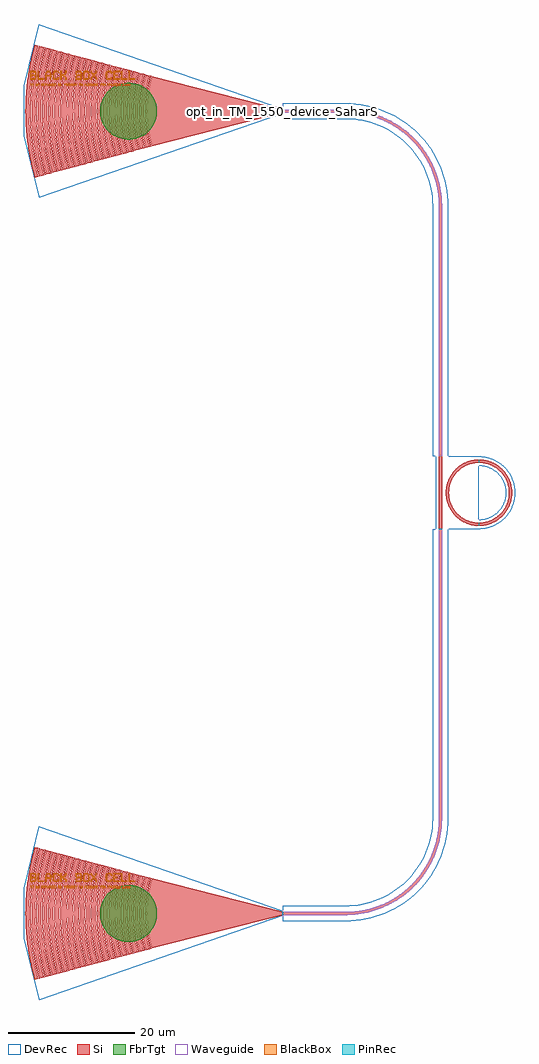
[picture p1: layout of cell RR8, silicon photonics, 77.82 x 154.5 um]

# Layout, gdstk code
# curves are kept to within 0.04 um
from math import pi, radians
import gdstk
lib = gdstk.Library(unit=1e-6, precision=1e-09)
def R(c, l, rs):  # rectangles x0, y0, x1, y1
    for r in rs: c.add(gdstk.rectangle(r[:2], r[2:], *l))
def P(c, l, *ps):  # polygons
    for p in ps: c.add(gdstk.Polygon(p, *l))
Si = (1, 0)
PinRec = (1, 10)
Waveguide = (1, 99)
DevRec = (68, 0)
FbrTgt = (81, 0)
BlackBox = (998, 0)

tm1550_subgc_10degree_ox = lib.new_cell('TM1550_SubGC_10degree_oxide')
P(tm1550_subgc_10degree_ox, Si, [(-20.951,-5.614),(-21.312,-4.239),(-21.572,-2.84),(-21.733,-1.367),(-21.781,-0.057),(-21.733,1.367),(-21.572,2.84),(-21.312,4.239),(-20.951,5.614),(-20.815,5.577),(-21.015,4.871),(-21.223,3.991),(-21.371,3.213),(-21.508,2.261),(-21.611,1.076),(-21.641,0.057),(-21.611,-1.076),(-21.508,-2.261),(-21.371,-3.213),(-21.223,-3.991),(-21.015,-4.871),(-20.815,-5.577)],
  [(-21.624,-5.794),(-22.009,-4.318),(-22.255,-2.989),(-22.416,-1.587),(-22.478,-0.177),(-22.437,1.294),(-22.272,2.873),(-22.009,4.318),(-21.624,5.794),(-21.069,5.645),(-21.621,3.308),(-21.882,0.917),(-21.887,-0.803),(-21.748,-2.459),(-21.481,-4.039),(-21.069,-5.645)],
  [(-21.878,-5.862),(-22.116,-5.004),(-22.279,-4.31),(-22.524,-2.965),(-22.622,-2.198),(-22.691,-1.428),(-22.741,-0.06),(-22.691,1.428),(-22.622,2.198),(-22.524,2.965),(-22.279,4.31),(-22.116,5.004),(-21.878,5.862),(-21.743,5.826),(-21.95,5.088),(-22.154,4.226),(-22.32,3.356),(-22.441,2.537),(-22.563,1.242),(-22.601,0.059),(-22.563,-1.242),(-22.441,-2.537),(-22.32,-3.356),(-22.154,-4.226),(-21.95,-5.088),(-21.743,-5.826)],
  [(-22.552,-6.043),(-22.911,-4.682),(-23.188,-3.238),(-23.378,-1.594),(-23.438,-0.184),(-23.387,1.471),(-23.233,2.935),(-22.951,4.503),(-22.552,6.043),(-21.996,5.894),(-22.56,3.513),(-22.744,2.21),(-22.844,0.898),(-22.849,-0.778),(-22.702,-2.566),(-22.412,-4.275),(-21.996,-5.894)],
  [(-22.805,-6.111),(-23.168,-4.735),(-23.309,-4.068),(-23.457,-3.213),(-23.542,-2.599),(-23.64,-1.612),(-23.686,-0.806),(-23.701,-0.062),(-23.686,0.806),(-23.649,1.488),(-23.493,2.968),(-23.366,3.763),(-23.195,4.614),(-23.006,5.396),(-22.805,6.111),(-22.67,6.074),(-22.885,5.304),(-23.11,4.346),(-23.28,3.438),(-23.395,2.645),(-23.525,1.233),(-23.561,0.062),(-23.525,-1.233),(-23.395,-2.645),(-23.28,-3.438),(-23.11,-4.346),(-22.885,-5.304),(-22.67,-6.074)],
  [(-23.479,-6.291),(-23.893,-4.688),(-24.167,-3.182),(-24.336,-1.659),(-24.398,-0.128),(-24.345,1.532),(-24.167,3.182),(-23.893,4.688),(-23.479,6.291),(-22.923,6.142),(-23.26,4.88),(-23.519,3.599),(-23.706,2.241),(-23.806,0.873),(-23.806,-0.873),(-23.656,-2.674),(-23.368,-4.394),(-22.923,-6.142)],
  [(-23.732,-6.359),(-24.094,-4.99),(-24.266,-4.17),(-24.418,-3.28),(-24.526,-2.448),(-24.598,-1.677),(-24.64,-0.968),(-24.661,-0.065),(-24.645,0.839),(-24.598,1.677),(-24.526,2.448),(-24.418,3.28),(-24.302,3.98),(-24.094,4.99),(-23.732,6.359),(-23.597,6.323),(-23.852,5.397),(-24.04,4.586),(-24.219,3.641),(-24.357,2.689),(-24.484,1.283),(-24.521,0.064),(-24.484,-1.283),(-24.357,-2.689),(-24.219,-3.641),(-24.04,-4.586),(-23.852,-5.397),(-23.597,-6.323)],
  [(-24.406,-6.54),(-24.821,-4.937),(-25.119,-3.307),(-25.308,-1.526),(-25.358,-0.133),(-25.308,1.526),(-25.119,3.307),(-24.821,4.937),(-24.406,6.54),(-23.851,6.391),(-24.214,5.014),(-24.468,3.744),(-24.655,2.396),(-24.765,0.908),(-24.765,-0.908),(-24.61,-2.782),(-24.298,-4.635),(-23.851,-6.391)],
  [(-24.66,-6.608),(-25.064,-5.054),(-25.213,-4.332),(-25.379,-3.341),(-25.481,-2.543),(-25.57,-1.542),(-25.621,-0.067),(-25.57,1.542),(-25.481,2.543),(-25.379,3.341),(-25.213,4.332),(-25.064,5.054),(-24.66,6.608),(-24.525,6.571),(-24.772,5.674),(-24.997,4.701),(-25.19,3.652),(-25.303,2.861),(-25.43,1.533),(-25.481,0.067),(-25.43,-1.533),(-25.303,-2.861),(-25.19,-3.652),(-24.997,-4.701),(-24.772,-5.674),(-24.525,-6.571)],
  [(-25.333,-6.788),(-25.702,-5.393),(-26.04,-3.636),(-26.246,-1.858),(-26.318,-0.138),(-26.266,1.583),(-26.09,3.296),(-25.777,5.057),(-25.333,6.788),(-24.778,6.639),(-25.139,5.275),(-25.439,3.756),(-25.631,2.287),(-25.727,0.876),(-25.727,-0.876),(-25.572,-2.823),(-25.241,-4.815),(-24.778,-6.639)],
  [(-25.587,-6.856),(-25.81,-6.054),(-26.02,-5.176),(-26.172,-4.427),(-26.321,-3.535),(-26.421,-2.777),(-26.508,-1.877),(-26.564,-0.904),(-26.581,-0.07),(-26.569,0.765),(-26.528,1.599),(-26.444,2.57),(-26.341,3.398),(-26.197,4.29),(-26.02,5.176),(-25.81,6.054),(-25.587,6.856),(-25.452,6.82),(-25.708,5.888),(-25.926,4.946),(-26.129,3.858),(-26.257,2.968),(-26.393,1.522),(-26.441,0.069),(-26.393,-1.522),(-26.257,-2.968),(-26.129,-3.858),(-25.926,-4.946),(-25.708,-5.888),(-25.452,-6.82)],
  [(-26.261,-7.037),(-26.704,-5.312),(-27.012,-3.628),(-27.204,-1.926),(-27.278,-0.143),(-27.229,1.57),(-27.052,3.346),(-26.704,5.312),(-26.261,7.037),(-25.705,6.888),(-26.063,5.54),(-26.366,4.034),(-26.566,2.581),(-26.684,0.978),(-26.678,-1.118),(-26.509,-3.067),(-26.184,-4.995),(-25.705,-6.888)],
  [(-26.514,-7.104),(-26.744,-6.273),(-26.946,-5.433),(-27.157,-4.374),(-27.293,-3.52),(-27.471,-1.873),(-27.521,-1.009),(-27.541,-0.072),(-27.491,1.585),(-27.407,2.591),(-27.293,3.52),(-27.157,4.374),(-26.946,5.433),(-26.744,6.273),(-26.514,7.104),(-26.379,7.068),(-26.626,6.172),(-26.869,5.126),(-27.067,4.069),(-27.202,3.147),(-27.351,1.577),(-27.401,0.072),(-27.36,-1.434),(-27.289,-2.363),(-27.202,-3.147),(-27.067,-4.069),(-26.869,-5.126),(-26.626,-6.172),(-26.379,-7.068)],
  [(-27.188,-7.285),(-27.661,-5.427),(-27.974,-3.683),(-28.167,-1.92),(-28.238,-0.148),(-28.192,1.551),(-27.995,3.537),(-27.661,5.427),(-27.188,7.285),(-26.633,7.136),(-27.002,5.739),(-27.315,4.18),(-27.529,2.602),(-27.646,0.941),(-27.637,-1.158),(-27.444,-3.321),(-27.127,-5.175),(-26.633,-7.136)],
  [(-27.442,-7.353),(-27.871,-5.696),(-28.065,-4.747),(-28.213,-3.865),(-28.347,-2.829),(-28.429,-1.938),(-28.483,-0.97),(-28.501,-0.075),(-28.483,0.97),(-28.429,1.938),(-28.355,2.755),(-28.245,3.643),(-28.065,4.747),(-27.903,5.55),(-27.716,6.348),(-27.442,7.353),(-27.306,7.317),(-27.543,6.46),(-27.797,5.378),(-27.992,4.358),(-28.146,3.331),(-28.305,1.706),(-28.361,0.074),(-28.346,-0.891),(-28.305,-1.706),(-28.146,-3.331),(-27.992,-4.358),(-27.797,-5.378),(-27.543,-6.46),(-27.306,-7.317)],
  [(-28.115,-7.533),(-28.587,-5.686),(-28.904,-3.959),(-29.125,-1.986),(-29.198,-0.153),(-29.141,1.757),(-28.937,3.733),(-28.587,5.686),(-28.115,7.533),(-27.56,7.385),(-27.991,5.72),(-28.3,4.103),(-28.507,2.469),(-28.608,0.899),(-28.596,-1.199),(-28.416,-3.288),(-28.07,-5.355),(-27.56,-7.385)],
  [(-28.369,-7.601),(-28.633,-6.637),(-28.828,-5.813),(-28.997,-4.983),(-29.164,-3.995),(-29.285,-3.078),(-29.381,-2.08),(-29.433,-1.234),(-29.461,-0.077),(-29.45,0.771),(-29.403,1.773),(-29.334,2.618),(-29.208,3.69),(-29.079,4.528),(-28.877,5.587),(-28.633,6.637),(-28.369,7.601),(-28.234,7.565),(-28.515,6.531),(-28.755,5.485),(-28.953,4.43),(-29.109,3.368),(-29.268,1.688),(-29.321,0.077),(-29.308,-0.844),(-29.268,-1.688),(-29.128,-3.216),(-28.978,-4.279),(-28.786,-5.335),(-28.552,-6.382),(-28.234,-7.565)],
  [(-29.043,-7.782),(-29.545,-5.796),(-29.878,-3.933),(-30.094,-1.893),(-30.158,-0.158),(-30.094,1.893),(-29.9,3.777),(-29.545,5.796),(-29.043,7.782),(-28.487,7.633),(-28.948,5.837),(-29.25,4.241),(-29.456,2.629),(-29.565,1.007),(-29.562,-1.084),(-29.37,-3.398),(-29.013,-5.534),(-28.487,-7.633)],
  [(-29.296,-7.85),(-29.568,-6.853),(-29.803,-5.847),(-30.014,-4.754),(-30.138,-3.968),(-30.266,-2.941),(-30.356,-1.91),(-30.402,-1.035),(-30.421,-0.08),(-30.402,1.035),(-30.356,1.91),(-30.266,2.941),(-30.138,3.968),(-30.014,4.754),(-29.803,5.847),(-29.568,6.853),(-29.296,7.85),(-29.161,7.814),(-29.451,6.745),(-29.73,5.51),(-29.928,4.419),(-30.082,3.321),(-30.236,1.585),(-30.281,0.079),(-30.236,-1.585),(-30.082,-3.321),(-29.928,-4.419),(-29.73,-5.51),(-29.451,-6.745),(-29.161,-7.814)],
  [(-29.97,-8.03),(-30.453,-6.14),(-30.818,-4.139),(-31.028,-2.279),(-31.118,-0.163),(-31.052,1.954),(-30.841,3.978),(-30.47,6.061),(-29.97,8.03),(-29.415,7.882),(-29.872,6.105),(-30.248,4.063),(-30.448,2.316),(-30.543,0.16),(-30.478,-1.917),(-30.248,-4.063),(-29.872,-6.105),(-29.415,-7.882)],
  [(-30.223,-8.098),(-30.483,-7.15),(-30.745,-6.032),(-30.934,-5.066),(-31.09,-4.093),(-31.23,-2.952),(-31.314,-1.97),(-31.367,-0.904),(-31.381,-0.082),(-31.367,0.904),(-31.314,1.97),(-31.23,2.952),(-31.09,4.093),(-30.934,5.066),(-30.745,6.032),(-30.483,7.15),(-30.223,8.098),(-30.088,8.062),(-30.367,7.039),(-30.641,5.845),(-30.824,4.882),(-31.006,3.67),(-31.107,2.776),(-31.185,1.798),(-31.241,0.082),(-31.227,-0.9),(-31.185,-1.798),(-31.107,-2.776),(-31.006,-3.67),(-30.824,-4.882),(-30.641,-5.845),(-30.367,-7.039),(-30.088,-8.062)],
  [(-30.897,-8.279),(-31.394,-6.33),(-31.757,-4.35),(-31.992,-2.265),(-32.078,-0.168),(-32.01,2.014),(-31.793,4.101),(-31.394,6.33),(-30.897,8.279),(-30.342,8.13),(-30.865,6.055),(-31.223,4.027),(-31.436,1.978),(-31.503,0.165),(-31.436,-1.978),(-31.223,-4.027),(-30.865,-6.055),(-30.342,-8.13)],
  [(-31.151,-8.347),(-31.375,-7.533),(-31.633,-6.465),(-31.836,-5.47),(-32.017,-4.386),(-32.168,-3.211),(-32.26,-2.199),(-32.321,-1.1),(-32.341,-0.085),(-32.324,1.016),(-32.272,2.03),(-32.177,3.127),(-32.065,4.051),(-31.896,5.137),(-31.687,6.217),(-31.459,7.205),(-31.151,8.347),(-31.016,8.311),(-31.302,7.255),(-31.584,6.025),(-31.8,4.866),(-31.97,3.699),(-32.138,1.937),(-32.184,1.011),(-32.201,0.084),(-32.184,-1.011),(-32.138,-1.937),(-31.97,-3.699),(-31.8,-4.866),(-31.584,-6.025),(-31.302,-7.255),(-31.016,-8.311)],
  [(-31.824,-8.527),(-32.335,-6.52),(-32.721,-4.395),(-32.956,-2.247),(-33.038,-0.173),(-32.974,1.988),(-32.757,4.138),(-32.371,6.351),(-31.824,8.527),(-31.269,8.379),(-31.753,6.489),(-32.151,4.318),(-32.376,2.292),(-32.463,0.17),(-32.4,-1.953),(-32.175,-4.15),(-31.807,-6.24),(-31.269,-8.379)],
  [(-32.078,-8.595),(-32.331,-7.672),(-32.592,-6.572),(-32.782,-5.633),(-32.981,-4.43),(-33.123,-3.306),(-33.218,-2.265),(-33.277,-1.22),(-33.301,-0.087),(-33.277,1.22),(-33.218,2.265),(-33.123,3.306),(-32.981,4.43),(-32.782,5.633),(-32.592,6.572),(-32.331,7.672),(-32.078,8.595),(-31.943,8.559),(-32.279,7.304),(-32.527,6.205),(-32.749,5.011),(-32.934,3.723),(-33.043,2.688),(-33.107,1.822),(-33.161,0.087),(-33.149,-0.868),(-33.107,-1.822),(-33.043,-2.688),(-32.934,-3.723),(-32.749,-5.011),(-32.527,-6.205),(-32.279,-7.304),(-31.943,-8.559)],
  [(-32.752,-8.776),(-33.295,-6.623),(-33.685,-4.435),(-33.907,-2.401),(-33.998,-0.178),(-33.92,2.223),(-33.685,4.435),(-33.295,6.623),(-32.752,8.776),(-32.196,8.627),(-32.731,6.511),(-33.115,4.36),(-33.34,2.273),(-33.423,0.175),(-33.358,-2.011),(-33.115,-4.36),(-32.731,-6.511),(-32.196,-8.627)],
  [(-33.005,-8.844),(-33.309,-7.721),(-33.571,-6.586),(-33.776,-5.531),(-33.945,-4.469),(-34.088,-3.312),(-34.182,-2.24),(-34.243,-1.076),(-34.261,-0.09),(-34.243,1.076),(-34.182,2.24),(-34.088,3.312),(-33.945,4.469),(-33.776,5.531),(-33.571,6.586),(-33.309,7.721),(-33.005,8.844),(-32.87,8.808),(-33.194,7.602),(-33.452,6.472),(-33.698,5.156),(-33.866,4.008),(-33.984,2.943),(-34.06,1.964),(-34.106,0.982),(-34.121,0.089),(-34.106,-0.982),(-34.06,-1.964),(-33.984,-2.943),(-33.866,-4.008),(-33.698,-5.156),(-33.452,-6.472),(-33.194,-7.602),(-32.87,-8.808)],
  [(-33.679,-9.024),(-34.217,-6.899),(-34.624,-4.651),(-34.878,-2.286),(-34.958,-0.183),(-34.896,2.012),(-34.662,4.379),(-34.255,6.721),(-33.679,9.024),(-33.124,8.875),(-33.653,6.786),(-34.054,4.574),(-34.291,2.428),(-34.383,0.18),(-34.322,-1.979),(-34.079,-4.396),(-33.691,-6.61),(-33.124,-8.875)],
  [(-33.933,-9.092),(-34.199,-8.116),(-34.494,-6.861),(-34.691,-5.867),(-34.884,-4.685),(-35.053,-3.313),(-35.14,-2.303),(-35.199,-1.198),(-35.221,-0.092),(-35.199,1.198),(-35.14,2.303),(-35.053,3.313),(-34.91,4.503),(-34.755,5.505),(-34.494,6.861),(-34.199,8.116),(-33.933,9.092),(-33.797,9.056),(-34.13,7.817),(-34.413,6.565),(-34.647,5.302),(-34.831,4.03),(-34.957,2.843),(-35.024,1.927),(-35.081,0.092),(-35.068,-0.918),(-35.024,-1.927),(-34.957,-2.843),(-34.831,-4.03),(-34.647,-5.302),(-34.413,-6.565),(-34.13,-7.817),(-33.797,-9.056)],
  [(-34.606,-9.273),(-35.178,-6.997),(-35.575,-4.778),(-35.836,-2.349),(-35.918,-0.188),(-35.86,1.973),(-35.627,4.406),(-35.178,6.997),(-34.606,9.273),(-34.051,9.124),(-34.614,6.885),(-34.992,4.793),(-35.234,2.68),(-35.343,0.185),(-35.286,-1.942),(-35.044,-4.427),(-34.614,-6.885),(-34.051,-9.124)],
  [(-34.86,-9.341),(-35.202,-8.062),(-35.455,-6.956),(-35.687,-5.748),(-35.849,-4.72),(-35.999,-3.498),(-36.098,-2.366),(-36.162,-1.136),(-36.181,-0.095),(-36.162,1.136),(-36.098,2.366),(-35.999,3.498),(-35.849,4.72),(-35.687,5.748),(-35.455,6.956),(-35.202,8.062),(-34.86,9.341),(-34.725,9.304),(-35.043,8.122),(-35.337,6.837),(-35.596,5.447),(-35.773,4.234),(-35.888,3.203),(-35.971,2.169),(-36.022,1.132),(-36.041,0.094),(-36.028,-0.943),(-35.977,-2.074),(-35.888,-3.203),(-35.773,-4.234),(-35.596,-5.447),(-35.337,-6.837),(-35.043,-8.122),(-34.725,-9.304)],
  [(-35.534,-9.521),(-36.099,-7.279),(-36.513,-5.002),(-36.78,-2.604),(-36.878,-0.193),(-36.807,2.219),(-36.567,4.619),(-36.159,6.996),(-35.534,9.521),(-34.978,9.372),(-35.575,6.98),(-35.957,4.83),(-36.199,2.658),(-36.303,0.19),(-36.22,-2.374),(-35.957,-4.83),(-35.575,-6.98),(-34.978,-9.372)],
  [(-35.787,-9.589),(-36.091,-8.465),(-36.377,-7.236),(-36.584,-6.188),(-36.787,-4.941),(-36.923,-3.881),(-37.049,-2.526),(-37.118,-1.264),(-37.141,-0.097),(-37.118,1.264),(-37.056,2.429),(-36.944,3.687),(-36.814,4.749),(-36.635,5.901),(-36.377,7.236),(-36.091,8.465),(-35.787,9.589),(-35.652,9.553),(-35.978,8.339),(-36.299,6.924),(-36.545,5.592),(-36.714,4.443),(-36.825,3.481),(-36.923,2.323),(-36.978,1.259),(-37.001,0.097),(-36.978,-1.259),(-36.923,-2.323),(-36.825,-3.481),(-36.714,-4.443),(-36.545,-5.592),(-36.299,-6.924),(-35.978,-8.339),(-35.652,-9.553)],
  [(-36.461,-9.77),(-37.061,-7.372),(-37.464,-5.132),(-37.73,-2.771),(-37.838,-0.198),(-37.765,2.277),(-37.506,4.838),(-37.061,7.372),(-36.461,9.77),(-35.906,9.621),(-36.497,7.26),(-36.922,4.861),(-37.164,2.631),(-37.263,0.195),(-37.185,-2.339),(-36.922,-4.861),(-36.497,-7.26),(-35.906,-9.621)],
  [(-36.714,-9.838),(-37.001,-8.781),(-37.276,-7.618),(-37.548,-6.25),(-37.724,-5.168),(-37.91,-3.684),(-38.014,-2.492),(-38.081,-1.197),(-38.101,-0.1),(-38.081,1.197),(-38.014,2.492),(-37.91,3.684),(-37.766,4.871),(-37.548,6.25),(-37.339,7.326),(-37.001,8.781),(-36.714,9.838),(-36.579,9.801),(-36.937,8.46),(-37.222,7.201),(-37.461,5.933),(-37.667,4.558),(-37.8,3.374),(-37.881,2.383),(-37.941,1.192),(-37.961,0.099),(-37.95,-0.894),(-37.911,-1.887),(-37.836,-2.978),(-37.692,-4.361),(-37.494,-5.737),(-37.262,-7.007),(-36.937,-8.46),(-36.579,-9.801)],
  [(-37.388,-10.018),(-37.981,-7.658),(-38.444,-5.061),(-38.71,-2.537),(-38.798,-0.203),(-38.71,2.537),(-38.458,4.961),(-38.044,7.361),(-37.388,10.018),(-36.833,9.869),(-37.459,7.349),(-37.874,4.986),(-38.129,2.599),(-38.223,0.2),(-38.143,-2.4),(-37.874,-4.986),(-37.459,-7.349),(-36.833,-9.869)],
  [(-37.642,-10.086),(-37.985,-8.804),(-38.26,-7.61),(-38.513,-6.307),(-38.704,-5.095),(-38.876,-3.675),(-38.957,-2.758),(-39.037,-1.329),(-39.061,-0.102),(-39.037,1.329),(-38.957,2.758),(-38.876,3.675),(-38.704,5.095),(-38.513,6.307),(-38.26,7.61),(-37.985,8.804),(-37.642,10.086),(-37.507,10.05),(-37.873,8.674),(-38.185,7.284),(-38.426,5.983),(-38.633,4.572),(-38.766,3.357),(-38.839,2.444),(-38.897,1.324),(-38.921,0.102),(-38.904,-1.121),(-38.852,-2.24),(-38.766,-3.357),(-38.633,-4.572),(-38.426,-5.983),(-38.185,-7.284),(-37.873,-8.674),(-37.507,-10.05)],
  [(-38.316,-10.267),(-38.944,-7.746),(-39.381,-5.29),(-39.66,-2.704),(-39.758,-0.208),(-39.675,2.496),(-39.41,5.083),(-38.987,7.543),(-38.316,10.267),(-37.76,10.118),(-38.337,7.835),(-38.811,5.213),(-39.079,2.767),(-39.183,0.205),(-39.114,-2.255),(-38.867,-4.807),(-38.422,-7.434),(-37.76,-10.118)],
  [(-38.569,-10.335),(-38.895,-9.123),(-39.223,-7.695),(-39.442,-6.565),(-39.656,-5.221),(-39.821,-3.869),(-39.937,-2.513),(-40,-1.257),(-40.021,-0.105),(-40,1.257),(-39.937,2.513),(-39.821,3.869),(-39.656,5.221),(-39.442,6.565),(-39.223,7.695),(-38.895,9.123),(-38.569,10.335),(-38.434,10.298),(-38.733,9.192),(-39.086,7.668),(-39.34,6.336),(-39.573,4.789),(-39.692,3.752),(-39.804,2.4),(-39.86,1.253),(-39.881,0.104),(-39.86,-1.253),(-39.804,-2.4),(-39.692,-3.752),(-39.573,-4.789),(-39.34,-6.336),(-39.086,-7.668),(-38.733,-9.192),(-38.434,-10.298)],
  [(-39.243,-10.515),(-39.841,-8.142),(-40.317,-5.523),(-40.602,-2.982),(-40.718,-0.213),(-40.64,2.45),(-40.362,5.206),(-39.907,7.83),(-39.243,10.515),(-38.687,10.366),(-39.365,7.616),(-39.792,5.133),(-40.052,2.625),(-40.143,0.21),(-40.066,-2.415),(-39.792,-5.133),(-39.365,-7.616),(-38.687,-10.366)],
  [(-20.697,-5.546),(-21.042,-4.243),(-21.295,-2.917),(-21.449,-1.632),(-21.518,-0.169),(-21.471,1.351),(-21.32,2.75),(-21.067,4.133),(-20.697,5.546),(0,0.25),(0,-0.25)])
tm1550_subgc_10degree_ox.add(gdstk.Label('Ref: Yun Wang, Optics Express, 08/2014', (-39,0), layer=10, texttype=0))
tm1550_subgc_10degree_ox.add(gdstk.Label('http://dx.doi.org/10.1364/OE.22.020652', (-39,-2), layer=10, texttype=0))
tm1550_subgc_10degree_ox.add(gdstk.Label('TM 1550 +10 deg', (-39,2), layer=10, texttype=0))

text_3 = lib.new_cell('TEXT$3')
P(text_3, BlackBox, [(0,0),(0,1.4),(0.8,1.4),(1,1.2),(0.2,1.2),(0.2,0.8),(0.7,0.8),(0.8,0.9),(0.8,1.1),(0.7,1.2),(1,1.2),(1,0.8),(0.9,0.7),(1,0.6),(0.2,0.6),(0.2,0.2),(0.7,0.2),(0.8,0.3),(0.8,0.5),(0.7,0.6),(1,0.6),(1,0.2),(0.8,0)],
  [(1.2,0),(1.2,1.4),(1.4,1.4),(1.4,0.2),(2.2,0.2),(2.2,0)],
  [(2.4,0),(2.4,1.1),(2.7,1.4),(3.1,1.4),(3.3,1.2),(2.8,1.2),(2.6,1),(2.6,0.7),(3.2,0.7),(3.2,1),(3,1.2),(3.3,1.2),(3.4,1.1),(3.4,0),(3.2,0),(3.2,0.5),(2.6,0.5),(2.6,0)],
  [(3.8,0),(3.6,0.2),(3.6,1.2),(3.8,1.4),(4.4,1.4),(4.6,1.2),(4.6,1),(4.4,1),(4.4,1.1),(4.3,1.2),(3.9,1.2),(3.8,1.1),(3.8,0.3),(3.9,0.2),(4.3,0.2),(4.4,0.3),(4.4,0.4),(4.6,0.4),(4.6,0.2),(4.4,0)],
  [(4.8,0),(4.8,1.4),(5,1.4),(5,0.8),(5.2,0.8),(5.6,1.2),(5.6,1.4),(5.8,1.4),(5.8,1.1),(5.4,0.7),(5.8,0.3),(5.8,0),(5.6,0),(5.6,0.2),(5.2,0.6),(5,0.6),(5,0)],
  [(7.2,0),(7.2,1.4),(8,1.4),(8.2,1.2),(7.4,1.2),(7.4,0.8),(7.9,0.8),(8,0.9),(8,1.1),(7.9,1.2),(8.2,1.2),(8.2,0.8),(8.1,0.7),(8.2,0.6),(7.4,0.6),(7.4,0.2),(7.9,0.2),(8,0.3),(8,0.5),(7.9,0.6),(8.2,0.6),(8.2,0.2),(8,0)],
  [(8.6,0),(8.4,0.2),(8.4,1.2),(8.6,1.4),(9.2,1.4),(9.4,1.2),(9.4,0.7),(9.2,0.7),(9.2,1.1),(9.1,1.2),(8.7,1.2),(8.6,1.1),(8.6,0.3),(8.7,0.2),(9.1,0.2),(9.2,0.3),(9.2,0.7),(9.4,0.7),(9.4,0.2),(9.2,0)],
  [(9.6,0),(9.6,0.3),(9.9,0.6),(9.9,0.8),(9.6,1.1),(9.6,1.4),(9.8,1.4),(9.8,1.2),(10.1,0.9),(10.4,1.2),(10.4,1.4),(10.6,1.4),(10.6,1.1),(10.3,0.8),(10.3,0.6),(10.6,0.3),(10.6,0),(10.4,0),(10.4,0.2),(10.1,0.5),(9.8,0.2),(9.8,0)],
  [(12.2,0),(12,0.2),(12,1.2),(12.2,1.4),(12.8,1.4),(13,1.2),(13,1),(12.8,1),(12.8,1.1),(12.7,1.2),(12.3,1.2),(12.2,1.1),(12.2,0.3),(12.3,0.2),(12.7,0.2),(12.8,0.3),(12.8,0.4),(13,0.4),(13,0.2),(12.8,0)],
  [(13.2,0),(13.2,1.4),(14.2,1.4),(14.2,1.2),(13.4,1.2),(13.4,0.8),(13.8,0.8),(13.8,0.6),(13.4,0.6),(13.4,0.2),(14.2,0.2),(14.2,0)],
  [(14.4,0),(14.4,1.4),(14.6,1.4),(14.6,0.2),(15.4,0.2),(15.4,0)],
  [(15.6,0),(15.6,1.4),(15.8,1.4),(15.8,0.2),(16.6,0.2),(16.6,0)])

text_4 = lib.new_cell('TEXT$4')
P(text_4, BlackBox, [(0.1,0),(0.1,0.3),(0,0.3),(0,0.35),(0.25,0.35),(0.25,0.3),(0.15,0.3),(0.15,0)],
  [(0.35,0),(0.3,0.05),(0.3,0.3),(0.35,0.35),(0.5,0.35),(0.55,0.3),(0.55,0.175),(0.5,0.175),(0.5,0.275),(0.475,0.3),(0.375,0.3),(0.35,0.275),(0.35,0.075),(0.375,0.05),(0.475,0.05),(0.5,0.075),(0.5,0.175),(0.55,0.175),(0.55,0.05),(0.5,0)],
  [(0.9,0),(0.9,0.35),(1.1,0.35),(1.15,0.3),(0.95,0.3),(0.95,0.2),(1.075,0.2),(1.1,0.225),(1.1,0.275),(1.075,0.3),(1.15,0.3),(1.15,0.2),(1.125,0.175),(1.15,0.15),(0.95,0.15),(0.95,0.05),(1.075,0.05),(1.1,0.075),(1.1,0.125),(1.075,0.15),(1.15,0.15),(1.15,0.05),(1.1,0)],
  [(1.2,0),(1.2,0.35),(1.45,0.35),(1.45,0.3),(1.25,0.3),(1.25,0.2),(1.35,0.2),(1.35,0.15),(1.25,0.15),(1.25,0.05),(1.45,0.05),(1.45,0)],
  [(1.8,0),(1.8,0.35),(2,0.35),(2.05,0.3),(1.85,0.3),(1.85,0.2),(1.975,0.2),(2,0.225),(2,0.275),(1.975,0.3),(2.05,0.3),(2.05,0.2),(2,0.15),(2,0.125),(2.05,0.075),(2.05,0),(2,0),(2,0.05),(1.9,0.15),(1.85,0.15),(1.85,0)],
  [(2.1,0),(2.1,0.35),(2.35,0.35),(2.35,0.3),(2.15,0.3),(2.15,0.2),(2.25,0.2),(2.25,0.15),(2.15,0.15),(2.15,0.05),(2.35,0.05),(2.35,0)],
  [(2.4,0),(2.4,0.35),(2.6,0.35),(2.65,0.3),(2.65,0.2),(2.6,0.15),(2.45,0.15),(2.45,0.2),(2.575,0.2),(2.6,0.225),(2.6,0.275),(2.575,0.3),(2.45,0.3),(2.45,0)],
  [(2.7,0),(2.7,0.35),(2.75,0.35),(2.75,0.05),(2.95,0.05),(2.95,0)],
  [(3,0),(3,0.275),(3.075,0.35),(3.175,0.35),(3.225,0.3),(3.1,0.3),(3.05,0.25),(3.05,0.175),(3.2,0.175),(3.2,0.25),(3.15,0.3),(3.225,0.3),(3.25,0.275),(3.25,0),(3.2,0),(3.2,0.125),(3.05,0.125),(3.05,0)],
  [(3.35,0),(3.3,0.05),(3.3,0.3),(3.35,0.35),(3.5,0.35),(3.55,0.3),(3.55,0.25),(3.5,0.25),(3.5,0.275),(3.475,0.3),(3.375,0.3),(3.35,0.275),(3.35,0.075),(3.375,0.05),(3.475,0.05),(3.5,0.075),(3.5,0.1),(3.55,0.1),(3.55,0.05),(3.5,0)],
  [(3.6,0),(3.6,0.35),(3.85,0.35),(3.85,0.3),(3.65,0.3),(3.65,0.2),(3.75,0.2),(3.75,0.15),(3.65,0.15),(3.65,0.05),(3.85,0.05),(3.85,0)],
  [(3.9,0),(3.9,0.35),(4.075,0.35),(4.125,0.3),(3.95,0.3),(3.95,0.05),(4.05,0.05),(4.1,0.1),(4.1,0.25),(4.05,0.3),(4.125,0.3),(4.15,0.275),(4.15,0.075),(4.075,0)],
  [(4.5,0),(4.5,0.35),(4.7,0.35),(4.75,0.3),(4.55,0.3),(4.55,0.2),(4.675,0.2),(4.7,0.225),(4.7,0.275),(4.675,0.3),(4.75,0.3),(4.75,0.2),(4.725,0.175),(4.75,0.15),(4.55,0.15),(4.55,0.05),(4.675,0.05),(4.7,0.075),(4.7,0.125),(4.675,0.15),(4.75,0.15),(4.75,0.05),(4.7,0)],
  [(4.9,0),(4.9,0.175),(4.8,0.275),(4.8,0.35),(4.85,0.35),(4.85,0.3),(4.925,0.225),(5,0.3),(5,0.35),(5.05,0.35),(5.05,0.275),(4.95,0.175),(4.95,0)],
  [(5.4,0),(5.4,0.35),(5.65,0.35),(5.65,0.3),(5.45,0.3),(5.45,0.2),(5.55,0.2),(5.55,0.15),(5.45,0.15),(5.45,0)],
  [(5.75,0),(5.7,0.05),(5.7,0.3),(5.75,0.35),(5.9,0.35),(5.95,0.3),(5.95,0.175),(5.9,0.175),(5.9,0.275),(5.875,0.3),(5.775,0.3),(5.75,0.275),(5.75,0.075),(5.775,0.05),(5.875,0.05),(5.9,0.075),(5.9,0.175),(5.95,0.175),(5.95,0.05),(5.9,0)],
  [(6.05,0),(6,0.05),(6,0.35),(6.05,0.35),(6.05,0.075),(6.075,0.05),(6.175,0.05),(6.2,0.075),(6.2,0.35),(6.25,0.35),(6.25,0.05),(6.2,0)],
  [(6.3,0),(6.3,0.35),(6.35,0.35),(6.475,0.225),(6.5,0.225),(6.5,0.35),(6.55,0.35),(6.55,0),(6.5,0),(6.5,0.125),(6.375,0.25),(6.35,0.25),(6.35,0)],
  [(6.6,0),(6.6,0.35),(6.775,0.35),(6.825,0.3),(6.65,0.3),(6.65,0.05),(6.75,0.05),(6.8,0.1),(6.8,0.25),(6.75,0.3),(6.825,0.3),(6.85,0.275),(6.85,0.075),(6.775,0)],
  [(6.9,0),(6.9,0.35),(7.1,0.35),(7.15,0.3),(6.95,0.3),(6.95,0.2),(7.075,0.2),(7.1,0.225),(7.1,0.275),(7.075,0.3),(7.15,0.3),(7.15,0.2),(7.1,0.15),(7.1,0.125),(7.15,0.075),(7.15,0),(7.1,0),(7.1,0.05),(7,0.15),(6.95,0.15),(6.95,0)],
  [(7.3,0),(7.3,0.175),(7.2,0.275),(7.2,0.35),(7.25,0.35),(7.25,0.3),(7.325,0.225),(7.4,0.3),(7.4,0.35),(7.45,0.35),(7.45,0.275),(7.35,0.175),(7.35,0)],
  [(7.9,0),(7.9,0.3),(7.8,0.3),(7.8,0.35),(8.05,0.35),(8.05,0.3),(7.95,0.3),(7.95,0)],
  [(8.15,0),(8.1,0.05),(8.1,0.3),(8.15,0.35),(8.3,0.35),(8.35,0.3),(8.35,0.175),(8.3,0.175),(8.3,0.275),(8.275,0.3),(8.175,0.3),(8.15,0.275),(8.15,0.075),(8.175,0.05),(8.275,0.05),(8.3,0.075),(8.3,0.175),(8.35,0.175),(8.35,0.05),(8.3,0)],
  [(8.7,0),(8.7,0.275),(8.775,0.35),(8.875,0.35),(8.925,0.3),(8.8,0.3),(8.75,0.25),(8.75,0.175),(8.9,0.175),(8.9,0.25),(8.85,0.3),(8.925,0.3),(8.95,0.275),(8.95,0),(8.9,0),(8.9,0.125),(8.75,0.125),(8.75,0)],
  [(9.05,0),(9,0.05),(9,0.3),(9.05,0.35),(9.2,0.35),(9.25,0.3),(9.25,0.25),(9.2,0.25),(9.2,0.275),(9.175,0.3),(9.075,0.3),(9.05,0.275),(9.05,0.075),(9.075,0.05),(9.175,0.05),(9.2,0.075),(9.2,0.1),(9.25,0.1),(9.25,0.05),(9.2,0)],
  [(9.35,0),(9.3,0.05),(9.3,0.3),(9.35,0.35),(9.5,0.35),(9.55,0.3),(9.55,0.25),(9.5,0.25),(9.5,0.275),(9.475,0.3),(9.375,0.3),(9.35,0.275),(9.35,0.075),(9.375,0.05),(9.475,0.05),(9.5,0.075),(9.5,0.1),(9.55,0.1),(9.55,0.05),(9.5,0)],
  [(9.65,0),(9.6,0.05),(9.6,0.3),(9.65,0.35),(9.8,0.35),(9.85,0.3),(9.85,0.175),(9.8,0.175),(9.8,0.275),(9.775,0.3),(9.675,0.3),(9.65,0.275),(9.65,0.075),(9.675,0.05),(9.775,0.05),(9.8,0.075),(9.8,0.175),(9.85,0.175),(9.85,0.05),(9.8,0)],
  [(9.95,0),(9.9,0.05),(9.9,0.35),(9.95,0.35),(9.95,0.075),(9.975,0.05),(10.075,0.05),(10.1,0.075),(10.1,0.35),(10.15,0.35),(10.15,0.05),(10.1,0)],
  [(10.2,0),(10.2,0.35),(10.25,0.35),(10.375,0.225),(10.4,0.225),(10.4,0.35),(10.45,0.35),(10.45,0),(10.4,0),(10.4,0.125),(10.275,0.25),(10.25,0.25),(10.25,0)],
  [(10.6,0),(10.6,0.3),(10.5,0.3),(10.5,0.35),(10.75,0.35),(10.75,0.3),(10.65,0.3),(10.65,0)],
  [(11.1,0),(11.1,0.35),(11.35,0.35),(11.35,0.3),(11.15,0.3),(11.15,0.2),(11.25,0.2),(11.25,0.15),(11.15,0.15),(11.15,0)],
  [(11.45,0),(11.4,0.05),(11.4,0.3),(11.45,0.35),(11.6,0.35),(11.65,0.3),(11.65,0.175),(11.6,0.175),(11.6,0.275),(11.575,0.3),(11.475,0.3),(11.45,0.275),(11.45,0.075),(11.475,0.05),(11.575,0.05),(11.6,0.075),(11.6,0.175),(11.65,0.175),(11.65,0.05),(11.6,0)],
  [(11.7,0),(11.7,0.35),(11.9,0.35),(11.95,0.3),(11.75,0.3),(11.75,0.2),(11.875,0.2),(11.9,0.225),(11.9,0.275),(11.875,0.3),(11.95,0.3),(11.95,0.2),(11.9,0.15),(11.9,0.125),(11.95,0.075),(11.95,0),(11.9,0),(11.9,0.05),(11.8,0.15),(11.75,0.15),(11.75,0)],
  [(12.3,0),(12.3,0.35),(12.5,0.35),(12.55,0.3),(12.55,0.2),(12.5,0.15),(12.35,0.15),(12.35,0.2),(12.475,0.2),(12.5,0.225),(12.5,0.275),(12.475,0.3),(12.35,0.3),(12.35,0)],
  [(12.6,0),(12.6,0.35),(12.8,0.35),(12.85,0.3),(12.65,0.3),(12.65,0.2),(12.775,0.2),(12.8,0.225),(12.8,0.275),(12.775,0.3),(12.85,0.3),(12.85,0.2),(12.8,0.15),(12.8,0.125),(12.85,0.075),(12.85,0),(12.8,0),(12.8,0.05),(12.7,0.15),(12.65,0.15),(12.65,0)],
  [(12.95,0),(12.9,0.05),(12.9,0.3),(12.95,0.35),(13.1,0.35),(13.15,0.3),(13.15,0.175),(13.1,0.175),(13.1,0.275),(13.075,0.3),(12.975,0.3),(12.95,0.275),(12.95,0.075),(12.975,0.05),(13.075,0.05),(13.1,0.075),(13.1,0.175),(13.15,0.175),(13.15,0.05),(13.1,0)],
  [(13.25,0),(13.2,0.05),(13.2,0.3),(13.25,0.35),(13.4,0.35),(13.45,0.3),(13.45,0.25),(13.4,0.25),(13.4,0.275),(13.375,0.3),(13.275,0.3),(13.25,0.275),(13.25,0.075),(13.275,0.05),(13.375,0.05),(13.4,0.075),(13.4,0.1),(13.45,0.1),(13.45,0.05),(13.4,0)],
  [(13.5,0),(13.5,0.35),(13.75,0.35),(13.75,0.3),(13.55,0.3),(13.55,0.2),(13.65,0.2),(13.65,0.15),(13.55,0.15),(13.55,0.05),(13.75,0.05),(13.75,0)],
  [(13.85,0),(13.8,0.05),(13.8,0.1),(13.85,0.1),(13.85,0.075),(13.875,0.05),(13.975,0.05),(14,0.075),(14,0.125),(13.975,0.15),(13.85,0.15),(13.8,0.2),(13.8,0.3),(13.85,0.35),(14,0.35),(14.05,0.3),(14.05,0.25),(14,0.25),(14,0.275),(13.975,0.3),(13.875,0.3),(13.85,0.275),(13.85,0.225),(13.875,0.2),(14,0.2),(14.05,0.15),(14.05,0.05),(14,0)],
  [(14.15,0),(14.1,0.05),(14.1,0.1),(14.15,0.1),(14.15,0.075),(14.175,0.05),(14.275,0.05),(14.3,0.075),(14.3,0.125),(14.275,0.15),(14.15,0.15),(14.1,0.2),(14.1,0.3),(14.15,0.35),(14.3,0.35),(14.35,0.3),(14.35,0.25),(14.3,0.25),(14.3,0.275),(14.275,0.3),(14.175,0.3),(14.15,0.275),(14.15,0.225),(14.175,0.2),(14.3,0.2),(14.35,0.15),(14.35,0.05),(14.3,0)],
  [(14.7,0),(14.7,0.35),(14.9,0.35),(14.95,0.3),(14.75,0.3),(14.75,0.2),(14.875,0.2),(14.9,0.225),(14.9,0.275),(14.875,0.3),(14.95,0.3),(14.95,0.2),(14.925,0.175),(14.95,0.15),(14.75,0.15),(14.75,0.05),(14.875,0.05),(14.9,0.075),(14.9,0.125),(14.875,0.15),(14.95,0.15),(14.95,0.05),(14.9,0)],
  [(15.075,0),(15.075,0.05),(15.1,0.05),(15.1,0.3),(15.075,0.3),(15.075,0.35),(15.175,0.35),(15.175,0.3),(15.15,0.3),(15.15,0.05),(15.175,0.05),(15.175,0)],
  [(15.3,0),(15.3,0.275),(15.375,0.35),(15.475,0.35),(15.525,0.3),(15.4,0.3),(15.35,0.25),(15.35,0.175),(15.5,0.175),(15.5,0.25),(15.45,0.3),(15.525,0.3),(15.55,0.275),(15.55,0),(15.5,0),(15.5,0.125),(15.35,0.125),(15.35,0)],
  [(15.65,0),(15.6,0.05),(15.6,0.1),(15.65,0.1),(15.65,0.075),(15.675,0.05),(15.775,0.05),(15.8,0.075),(15.8,0.125),(15.775,0.15),(15.65,0.15),(15.6,0.2),(15.6,0.3),(15.65,0.35),(15.8,0.35),(15.85,0.3),(15.85,0.25),(15.8,0.25),(15.8,0.275),(15.775,0.3),(15.675,0.3),(15.65,0.275),(15.65,0.225),(15.675,0.2),(15.8,0.2),(15.85,0.15),(15.85,0.05),(15.8,0)])

ebeam_gc_tm1550 = lib.new_cell('ebeam_gc_tm1550')
R(ebeam_gc_tm1550, Si, [(-0.001,-0.001,0.001,0.001)])
P(ebeam_gc_tm1550, DevRec, [(-38.5,-13.7),(-41,-4),(-41,4),(-38.6,13.8),(0,0.4),(0,-0.4)])
P(ebeam_gc_tm1550, FbrTgt, [(-24.621,-4.5),(-25.495,-4.37),(-26.326,-4.073),(-27.084,-3.619),(-27.738,-3.026),(-28.264,-2.316),(-28.642,-1.518),(-28.857,-0.661),(-28.9,0.221),(-28.77,1.095),(-28.473,1.926),(-28.019,2.684),(-27.426,3.338),(-26.716,3.864),(-25.918,4.242),(-25.061,4.457),(-24.179,4.5),(-23.305,4.37),(-22.474,4.073),(-21.716,3.619),(-21.062,3.026),(-20.536,2.316),(-20.158,1.518),(-19.943,0.661),(-19.9,-0.221),(-20.03,-1.095),(-20.327,-1.926),(-20.781,-2.684),(-21.374,-3.338),(-22.084,-3.864),(-22.882,-4.242),(-23.739,-4.457)])
ebeam_gc_tm1550.add(gdstk.FlexPath([(-0.05,0),(0.05,0)], 0.5, ends="flush", simple_path=True, layer=1, datatype=10))  # PinRec
ebeam_gc_tm1550.add(gdstk.Reference(tm1550_subgc_10degree_ox, (0,0)))
ebeam_gc_tm1550.add(gdstk.Reference(text_3, (-40,5)))
ebeam_gc_tm1550.add(gdstk.Reference(text_4, (-40,4)))
ebeam_gc_tm1550.add(gdstk.Label('opt1', (0,0), layer=1, texttype=10))
ebeam_gc_tm1550.add(gdstk.Label('Component=ebeam_gc_tm1550', (-35,-5), layer=68, texttype=0))
ebeam_gc_tm1550.add(gdstk.Label('Lumerical_INTERCONNECT_library=Design kits/ebeam', (-38,-6), layer=68, texttype=0))

ebeam_dc_halfring_straig = lib.new_cell('ebeam_dc_halfring_straight$9')
R(ebeam_dc_halfring_straig, Si, [(-5.75,-0.25,5.75,0.25)])
P(ebeam_dc_halfring_straig, Si, [(0,0.85),(-1.043,0.955),(-2.044,1.264),(-2.838,1.683),(-3.659,2.335),(-4.334,3.137),(-4.836,4.056),(-5.145,5.057),(-5.25,6.1),(-4.75,6.1),(-4.627,5.024),(-4.321,4.127),(-3.843,3.308),(-3.212,2.6),(-2.453,2.032),(-1.723,1.674),(-0.943,1.445),(0,1.35),(0.943,1.445),(1.723,1.674),(2.453,2.032),(3.212,2.6),(3.843,3.308),(4.321,4.127),(4.627,5.024),(4.75,6.1),(5.25,6.1),(5.145,5.057),(4.836,4.056),(4.417,3.262),(3.765,2.441),(2.963,1.766),(2.044,1.264),(1.043,0.955)])
R(ebeam_dc_halfring_straig, DevRec, [(-5.75,-0.75,5.75,6.1)])
ebeam_dc_halfring_straig.add(gdstk.FlexPath([(-5,6.09),(-5,6.11)], 0.5, ends="flush", simple_path=True, layer=1, datatype=10))  # PinRec
ebeam_dc_halfring_straig.add(gdstk.FlexPath([(5,6.09),(5,6.11)], 0.5, ends="flush", simple_path=True, layer=1, datatype=10))  # PinRec
ebeam_dc_halfring_straig.add(gdstk.FlexPath([(-5.74,0),(-5.76,0)], 0.5, ends="flush", simple_path=True, layer=1, datatype=10))  # PinRec
ebeam_dc_halfring_straig.add(gdstk.FlexPath([(5.74,0),(5.76,0)], 0.5, ends="flush", simple_path=True, layer=1, datatype=10))  # PinRec
ebeam_dc_halfring_straig.add(gdstk.Label('pin2', (-5,6.1), layer=1, texttype=10))
ebeam_dc_halfring_straig.add(gdstk.Label('pin4', (5,6.1), layer=1, texttype=10))
ebeam_dc_halfring_straig.add(gdstk.Label('pin1', (-5.75,0), layer=1, texttype=10))
ebeam_dc_halfring_straig.add(gdstk.Label('pin3', (5.75,0), layer=1, texttype=10))
ebeam_dc_halfring_straig.add(gdstk.Label('Lumerical_INTERCONNECT_library=Design kits/ebeam', (-5,0), layer=68, texttype=0))
ebeam_dc_halfring_straig.add(gdstk.Label('Component=ebeam_dc_halfring_straight', (-5,1.25), layer=68, texttype=0))
ebeam_dc_halfring_straig.add(gdstk.Label('Spice_param:wg_width=5e-07 gap=6e-07 radius=5e-06 Lc=0 orthogonal_identifier=2', (-5,2.5), layer=68, texttype=0))

waveguide_bend_3 = lib.new_cell('Waveguide_Bend$3')
P(waveguide_bend_3, Si, [(-5,-0.25),(-5,0.25),(-4.057,0.345),(-3.151,0.624),(-2.433,1.004),(-1.689,1.593),(-1.08,2.319),(-0.624,3.151),(-0.345,4.057),(-0.25,5),(0.25,5),(0.145,3.957),(-0.164,2.957),(-0.666,2.037),(-1.235,1.341),(-2.037,0.666),(-2.957,0.164),(-3.957,-0.145)])
P(waveguide_bend_3, DevRec, [(-5,-0.75),(-5,0.75),(-4.157,0.835),(-3.346,1.085),(-2.704,1.424),(-2.037,1.952),(-1.493,2.601),(-1.085,3.346),(-0.835,4.157),(-0.75,5),(0.75,5),(0.635,3.857),(0.297,2.762),(-0.253,1.755),(-0.876,0.993),(-1.755,0.253),(-2.762,-0.297),(-3.857,-0.635)])
waveguide_bend_3.add(gdstk.FlexPath([(0,4.99),(0,5.01)], 0.5, ends="flush", simple_path=True, layer=1, datatype=10))  # PinRec
waveguide_bend_3.add(gdstk.FlexPath([(-4.99,0),(-5.01,0)], 0.5, ends="flush", simple_path=True, layer=1, datatype=10))  # PinRec
waveguide_bend_3.add(gdstk.Label('pin2', (0,5), layer=1, texttype=10))
waveguide_bend_3.add(gdstk.Label('pin1', (-5,0), layer=1, texttype=10))
waveguide_bend_3.add(gdstk.Label('Lumerical_INTERCONNECT_library=Design kits/EBeam', (-4.5,0), layer=68, texttype=0))
waveguide_bend_3.add(gdstk.Label('Component=ebeam_bend_1550', (-4.5,1.25), layer=68, texttype=0))
waveguide_bend_3.add(gdstk.Label('Spice_param:radius=5.000u wg_width=0.500u', (-4.5,2.5), layer=68, texttype=0))

waveguide_18 = lib.new_cell('Waveguide$18')
P(waveguide_18, Si, [(399.9,70.37),(399.892,110.503),(399.774,111.945),(399.515,113.369),(399.117,114.761),(398.585,116.108),(397.923,117.395),(397.14,118.611),(396.24,119.745),(395.408,120.619),(394.32,121.573),(393.143,122.417),(391.89,123.141),(390.571,123.738),(388.499,124.385),(386.596,124.699),(385.15,124.77),(375.18,124.77),(375.18,125.27),(386.147,125.237),(387.141,125.14),(388.37,124.926),(389.576,124.613),(390.522,124.293),(391.894,123.697),(393.203,122.97),(394.433,122.118),(395.575,121.151),(396.616,120.075),(397.546,118.903),(398.357,117.645),(399.041,116.314),(399.591,114.923),(400.056,113.24),(400.3,111.763),(400.398,110.269),(400.4,70.37)])
P(waveguide_18, Waveguide, [(399.9,70.37),(399.892,110.503),(399.774,111.945),(399.515,113.369),(399.117,114.761),(398.585,116.108),(397.923,117.395),(397.14,118.611),(396.24,119.745),(395.408,120.619),(394.32,121.573),(393.143,122.417),(391.89,123.141),(390.571,123.738),(388.499,124.385),(386.596,124.699),(385.15,124.77),(375.18,124.77),(375.18,125.27),(386.147,125.237),(387.141,125.14),(388.37,124.926),(389.576,124.613),(390.522,124.293),(391.894,123.697),(393.203,122.97),(394.433,122.118),(395.575,121.151),(396.616,120.075),(397.546,118.903),(398.357,117.645),(399.041,116.314),(399.591,114.923),(400.056,113.24),(400.3,111.763),(400.398,110.269),(400.4,70.37)])
P(waveguide_18, DevRec, [(398.9,70.37),(398.9,110.019),(398.834,111.368),(398.636,112.702),(398.308,114.011),(397.853,115.282),(397.276,116.502),(396.583,117.659),(395.779,118.743),(394.873,119.743),(393.873,120.649),(392.789,121.453),(391.029,122.45),(389.782,122.966),(388.491,123.358),(386.498,123.704),(385.148,123.77),(375.18,123.77),(375.18,126.27),(385.152,126.27),(386.742,126.192),(389.099,125.782),(391.368,125.033),(392.81,124.352),(394.179,123.531),(395.459,122.581),(396.641,121.511),(397.711,120.329),(398.661,119.049),(399.482,117.68),(400.163,116.238),(400.7,114.737),(401.088,113.19),(401.381,110.817),(401.4,70.37)])
waveguide_18.add(gdstk.FlexPath([(400.15,70.38),(400.15,70.36)], 0.5, ends="flush", simple_path=True, layer=1, datatype=10))  # PinRec
waveguide_18.add(gdstk.FlexPath([(375.19,125.02),(375.17,125.02)], 0.5, ends="flush", simple_path=True, layer=1, datatype=10))  # PinRec
waveguide_18.add(gdstk.Label('opt1', (400.15,70.37), layer=1, texttype=10))
waveguide_18.add(gdstk.Label('opt2', (375.18,125.02), layer=1, texttype=10))
waveguide_18.add(gdstk.Label('Lumerical_INTERCONNECT_library=Design kits/EBeam', (400.05,70.37), layer=68, texttype=0))
waveguide_18.add(gdstk.Label('Component=ebeam_wg_integral_1550', (400.25,70.37), layer=68, texttype=0))
waveguide_18.add(gdstk.Label('cellName=Waveguide', (400.35,70.37), layer=68, texttype=0))
waveguide_18.add(gdstk.Label('Spice_param:wg_length=0.000073177 wg_width=5e-07 points="[[400.15,70.37],[400.15,125.02],[375.18,125.02]]" radius=1.5e-05', (400.15,70.37), layer=68, texttype=0))
waveguide_18.add(gdstk.Label('Length=73.177 (microns)', (399.55,70.37), layer=68, texttype=0))
waveguide_18.add(gdstk.Label('waveguide_type=Strip TM 1550 nm, w=500 nm', (399.95,70.37), layer=68, texttype=0))

waveguide_19 = lib.new_cell('Waveguide$19')
P(waveguide_19, Si, [(375.18,-2.23),(375.18,-1.73),(385.15,-1.73),(386.596,-1.659),(388.499,-1.345),(390.571,-0.698),(391.89,-0.101),(393.143,0.623),(394.32,1.467),(395.58,2.59),(396.552,3.663),(397.414,4.825),(398.159,6.067),(398.777,7.376),(399.193,8.507),(399.568,9.906),(399.804,11.335),(399.892,12.537),(399.9,58.87),(400.4,58.87),(400.398,12.771),(400.327,11.526),(400.107,10.045),(399.743,8.594),(399.239,7.184),(398.599,5.831),(397.83,4.547),(396.938,3.345),(395.934,2.236),(394.825,1.232),(393.623,0.34),(392.118,-0.545),(390.755,-1.162),(389.576,-1.573),(388.37,-1.886),(387.141,-2.1),(386.147,-2.197)])
P(waveguide_19, Waveguide, [(375.18,-2.23),(375.18,-1.73),(385.15,-1.73),(386.596,-1.659),(388.499,-1.345),(390.571,-0.698),(391.89,-0.101),(393.143,0.623),(394.32,1.467),(395.58,2.59),(396.552,3.663),(397.414,4.825),(398.159,6.067),(398.777,7.376),(399.193,8.507),(399.568,9.906),(399.804,11.335),(399.892,12.537),(399.9,58.87),(400.4,58.87),(400.398,12.771),(400.327,11.526),(400.107,10.045),(399.743,8.594),(399.239,7.184),(398.599,5.831),(397.83,4.547),(396.938,3.345),(395.934,2.236),(394.825,1.232),(393.623,0.34),(392.118,-0.545),(390.755,-1.162),(389.576,-1.573),(388.37,-1.886),(387.141,-2.1),(386.147,-2.197)])
P(waveguide_19, DevRec, [(375.18,-3.23),(375.18,-0.73),(385.148,-0.73),(386.498,-0.664),(388.491,-0.318),(389.782,0.074),(391.029,0.59),(392.789,1.587),(393.873,2.391),(394.873,3.297),(395.779,4.297),(396.583,5.381),(397.276,6.538),(397.853,7.758),(398.308,9.029),(398.636,10.338),(398.834,11.672),(398.9,13.02),(398.9,58.87),(401.4,58.87),(401.4,13.02),(401.322,11.428),(401.088,9.85),(400.7,8.303),(400.163,6.802),(399.482,5.36),(398.661,3.991),(397.711,2.711),(396.641,1.529),(395.459,0.459),(394.179,-0.491),(392.81,-1.312),(391.368,-1.993),(389.099,-2.742),(386.742,-3.152),(385.152,-3.23)])
waveguide_19.add(gdstk.FlexPath([(375.19,-1.98),(375.17,-1.98)], 0.5, ends="flush", simple_path=True, layer=1, datatype=10))  # PinRec
waveguide_19.add(gdstk.FlexPath([(400.15,58.86),(400.15,58.88)], 0.5, ends="flush", simple_path=True, layer=1, datatype=10))  # PinRec
waveguide_19.add(gdstk.Label('opt1', (375.18,-1.98), layer=1, texttype=10))
waveguide_19.add(gdstk.Label('opt2', (400.15,58.87), layer=1, texttype=10))
waveguide_19.add(gdstk.Label('Lumerical_INTERCONNECT_library=Design kits/EBeam', (375.18,-2.08), layer=68, texttype=0))
waveguide_19.add(gdstk.Label('Component=ebeam_wg_integral_1550', (375.18,-1.88), layer=68, texttype=0))
waveguide_19.add(gdstk.Label('cellName=Waveguide', (375.18,-1.78), layer=68, texttype=0))
waveguide_19.add(gdstk.Label('Spice_param:wg_length=0.000079377 wg_width=5e-07 points="[[375.18,-1.98],[400.15,-1.98],[400.15,58.87]]" radius=1.5e-05', (375.18,-1.98), layer=68, texttype=0))
waveguide_19.add(gdstk.Label('Length=79.377 (microns)', (375.18,-2.58), layer=68, texttype=0))
waveguide_19.add(gdstk.Label('waveguide_type=Strip TM 1550 nm, w=500 nm', (375.18,-2.18), layer=68, texttype=0))

rr8 = lib.new_cell('RR8')
r = gdstk.Reference(ebeam_gc_tm1550, (2.09,-140.8)); r.repetition = gdstk.Repetition(1, 2, v1=(0,0), v2=(0,127)); rr8.add(r)
rr8.add(gdstk.Reference(ebeam_dc_halfring_straig, (27.06,-74.2), rotation=3*pi/2))
rr8.add(gdstk.Reference(waveguide_bend_3, (38.16,-79.2)))
rr8.add(gdstk.Reference(waveguide_bend_3, (38.16,-69.2), rotation=pi/2))
rr8.add(gdstk.Reference(waveguide_18, (-373.09,-138.82)))
rr8.add(gdstk.Reference(waveguide_19, (-373.09,-138.82)))
rr8.add(gdstk.Label('opt_in_TM_1550_device_SaharS_RR8', (2.1,-13.8), layer=10, texttype=0))

lib.write_gds('RR8.gds')
